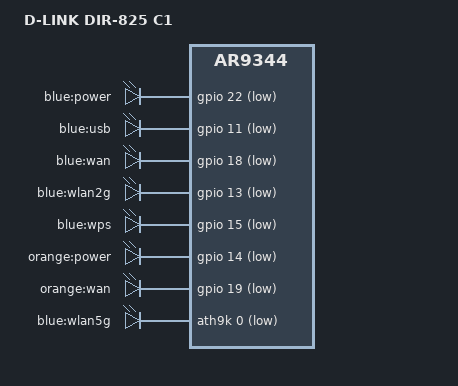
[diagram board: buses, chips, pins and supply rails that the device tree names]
// SPDX-License-Identifier: GPL-2.0-or-later OR MIT

#include "ar9344_dlink_dir-8x5.dtsi"

/ {
	model = "D-LINK DIR-825 C1";
	compatible = "dlink,dir-825-c1", "qca,ar9344";

	aliases {
		led-boot = &led_power_orange;
		led-failsafe = &led_power_orange;
		led-running = &led_power_blue;
		led-upgrade = &led_power_orange;
	};

	leds {
		compatible = "gpio-leds";

		pinctrl-names = "default";
		pinctrl-0 = <&enable_gpio_11>;

		led_power_blue: power_blue {
			label = "blue:power";
			gpios = <&gpio 22 GPIO_ACTIVE_LOW>;
		};

		usb {
			label = "blue:usb";
			gpios = <&gpio 11 GPIO_ACTIVE_LOW>;
			linux,default-trigger = "usbport";
			trigger-sources = <&hub_port1>;
		};

		wan_blue {
			label = "blue:wan";
			gpios = <&gpio 18 GPIO_ACTIVE_LOW>;
		};

		wlan2g {
			label = "blue:wlan2g";
			gpios = <&gpio 13 GPIO_ACTIVE_LOW>;
			linux,default-trigger = "phy0tpt";
		};

		wps {
			label = "blue:wps";
			gpios = <&gpio 15 GPIO_ACTIVE_LOW>;
		};

		led_power_orange: power_orange {
			label = "orange:power";
			gpios = <&gpio 14 GPIO_ACTIVE_LOW>;
		};

		wan_orange {
			label = "orange:wan";
			gpios = <&gpio 19 GPIO_ACTIVE_LOW>;
		};
	};

	leds-ath9k {
		compatible = "gpio-leds";

		wlan5g {
			label = "blue:wlan5g";
			gpios = <&ath9k 0 GPIO_ACTIVE_LOW>;
			linux,default-trigger = "phy1tpt";
		};
	};
};

&pinmux {
	enable_gpio_11: pinmux_enable_gpio_11 {
		pinctrl-single,bits = <0x8 0x0 0xff000000>;
	};
};
